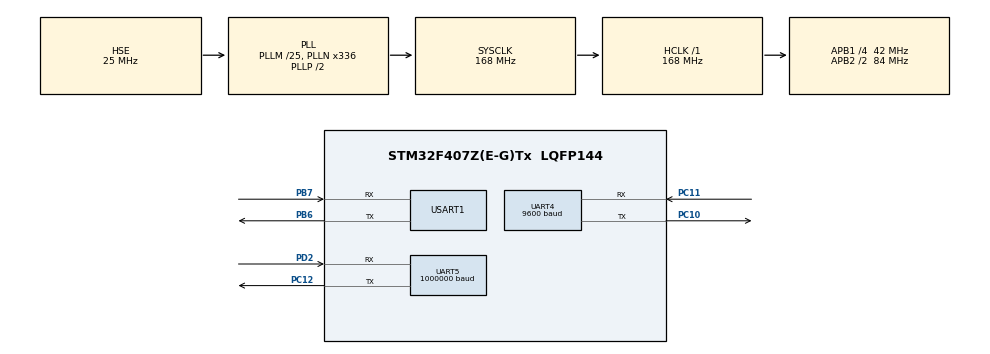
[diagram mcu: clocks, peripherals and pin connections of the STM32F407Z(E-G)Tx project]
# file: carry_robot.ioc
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FREERTOS.Tasks01=defaultTask,0,128,StartDefaultTask,Default,NULL,Dynamic,NULL,NULL
Mcu.Family=STM32F4
Mcu.Name=STM32F407Z(E-G)Tx
Mcu.Package=LQFP144
NVIC.PriorityGroup=NVIC_PRIORITYGROUP_4
NVIC.TIM1_UP_TIM10_IRQn=true\:0\:0\:false\:false\:true\:false\:false
NVIC.TimeBase=TIM1_UP_TIM10_IRQn
NVIC.TimeBaseIP=TIM1
NVIC.UART4_IRQn=true\:6\:0\:true\:false\:true\:true\:true
NVIC.UART5_IRQn=true\:6\:0\:true\:false\:true\:true\:true
NVIC.USART1_IRQn=true\:6\:0\:true\:false\:true\:true\:true
PB6.Mode=Asynchronous
PB6.Signal=USART1_TX
PB7.Mode=Asynchronous
PB7.Signal=USART1_RX
PC10.Mode=Asynchronous
PC10.Signal=UART4_TX
PC11.Mode=Asynchronous
PC11.Signal=UART4_RX
PC12.Mode=Asynchronous
PC12.Signal=UART5_TX
PD2.Mode=Asynchronous
PD2.Signal=UART5_RX
PH0-OSC_IN.Mode=HSE-External-Oscillator
PH0-OSC_IN.Signal=RCC_OSC_IN
PH1-OSC_OUT.Mode=HSE-External-Oscillator
PH1-OSC_OUT.Signal=RCC_OSC_OUT
ProjectManager.HeapSize=0x200
ProjectManager.StackSize=0x400
ProjectManager.TargetToolchain=MDK-ARM V5
RCC.48MHZClocksFreq_Value=84000000
RCC.AHBFreq_Value=168000000
RCC.APB1CLKDivider=RCC_HCLK_DIV4
RCC.APB1Freq_Value=42000000
RCC.APB1TimFreq_Value=84000000
RCC.APB2CLKDivider=RCC_HCLK_DIV2
RCC.APB2Freq_Value=84000000
RCC.APB2TimFreq_Value=168000000
RCC.CortexFreq_Value=168000000
RCC.HCLKFreq_Value=168000000
RCC.HSE_VALUE=25000000
RCC.HSI_VALUE=16000000
RCC.LSE_VALUE=32768
RCC.PLLM=25
RCC.PLLN=336
RCC.PLLSourceVirtual=RCC_PLLSOURCE_HSE
RCC.SYSCLKFreq_VALUE=168000000
RCC.SYSCLKSource=RCC_SYSCLKSOURCE_PLLCLK
RCC.VCOOutputFreq_Value=336000000
UART4.BaudRate=9600
UART4.VirtualMode=Asynchronous
UART5.BaudRate=1000000
UART5.VirtualMode=Asynchronous
USART1.VirtualMode=VM_ASYNC
VP_FREERTOS_VS_ENABLE.Mode=Enabled
VP_SYS_VS_tim1.Mode=TIM1
board=custom

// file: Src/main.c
/**
  ******************************************************************************
  * @file           : main.c
  * @brief          : Main program body
  ******************************************************************************
  * This notice applies to any and all portions of this file
  * that are not between comment pairs USER CODE BEGIN and
  * USER CODE END. Other portions of this file, whether
  * inserted by the user or by software development tools
  * are owned by their respective copyright owners.
  *
  * Copyright (c) 2018 STMicroelectronics International N.V.
  * All rights reserved.
  *
  * Redistribution and use in source and binary forms, with or without
  * modification, are permitted, provided that the following conditions are met:
  *
  * 1. Redistribution of source code must retain the above copyright notice,
  *    this list of conditions and the following disclaimer.
  * 2. Redistributions in binary form must reproduce the above copyright notice,
  *    this list of conditions and the following disclaimer in the documentation
  *    and/or other materials provided with the distribution.
  * 3. Neither the name of STMicroelectronics nor the names of other
  *    contributors to this software may be used to endorse or promote products
  *    derived from this software without specific written permission.
  * 4. This software, including modifications and/or derivative works of this
  *    software, must execute solely and exclusively on microcontroller or
  *    microprocessor devices manufactured by or for STMicroelectronics.
  * 5. Redistribution and use of this software other than as permitted under
  *    this license is void and will automatically terminate your rights under
  *    this license.
  *
  * THIS SOFTWARE IS PROVIDED BY STMICROELECTRONICS AND CONTRIBUTORS "AS IS"
  * AND ANY EXPRESS, IMPLIED OR STATUTORY WARRANTIES, INCLUDING, BUT NOT
  * LIMITED TO, THE IMPLIED WARRANTIES OF MERCHANTABILITY, FITNESS FOR A
  * PARTICULAR PURPOSE AND NON-INFRINGEMENT OF THIRD PARTY INTELLECTUAL PROPERTY
  * RIGHTS ARE DISCLAIMED TO THE FULLEST EXTENT PERMITTED BY LAW. IN NO EVENT
  * SHALL STMICROELECTRONICS OR CONTRIBUTORS BE LIABLE FOR ANY DIRECT, INDIRECT,
  * INCIDENTAL, SPECIAL, EXEMPLARY, OR CONSEQUENTIAL DAMAGES (INCLUDING, BUT NOT
  * LIMITED TO, PROCUREMENT OF SUBSTITUTE GOODS OR SERVICES; LOSS OF USE, DATA,
  * OR PROFITS; OR BUSINESS INTERRUPTION) HOWEVER CAUSED AND ON ANY THEORY OF
  * LIABILITY, WHETHER IN CONTRACT, STRICT LIABILITY, OR TORT (INCLUDING
  * NEGLIGENCE OR OTHERWISE) ARISING IN ANY WAY OUT OF THE USE OF THIS SOFTWARE,
  * EVEN IF ADVISED OF THE POSSIBILITY OF SUCH DAMAGE.
  *
  ******************************************************************************
  */
#include "main.h"
#include "stm32f4xx_hal.h"
#include "cmsis_os.h"
#include "usart.h"
#include "gpio.h"

/* USER CODE BEGIN Includes */
#include "bsp.h"
/* USER CODE END Includes */

/* USER CODE BEGIN PV */
/* Private variables ---------------------------------------------------------*/

/* USER CODE END PV */

void SystemClock_Config(void);
void MX_FREERTOS_Init(void);

/* USER CODE BEGIN PFP */
/* Private function prototypes -----------------------------------------------*/

/* USER CODE END PFP */

int main(void)
{

  /* MCU Configuration----------------------------------------------------------*/

  /* Reset of all peripherals, Initializes the Flash interface and the Systick. */
  HAL_Init();

  /* Configure the system clock */
  SystemClock_Config();

  /* USER CODE BEGIN SysInit */
	taskENTER_CRITICAL();  //�����ٽ��

  /* USER CODE END SysInit */

  /* Initialize all configured peripherals */
  MX_GPIO_Init();
  MX_USART1_UART_Init();
  MX_UART5_Init();
  MX_UART4_Init();
  /* USER CODE BEGIN 2 */
  BSP_Init();

  /* USER CODE END 2 */

  /* Call init function for freertos objects (in freertos.c) */
  MX_FREERTOS_Init();

  /* Start scheduler */
  osKernelStart();

  /* We should never get here as control is now taken by the scheduler */

  /* Infinite loop */
  while (1)
  {

  }

}

void SystemClock_Config(void)
{

  RCC_OscInitTypeDef RCC_OscInitStruct;
  RCC_ClkInitTypeDef RCC_ClkInitStruct;

    /**Configure the main internal regulator output voltage
    */
  __HAL_RCC_PWR_CLK_ENABLE();

  __HAL_PWR_VOLTAGESCALING_CONFIG(PWR_REGULATOR_VOLTAGE_SCALE1);

    /**Initializes the CPU, AHB and APB busses clocks
    */
  RCC_OscInitStruct.OscillatorType = RCC_OSCILLATORTYPE_HSE;
  RCC_OscInitStruct.HSEState = RCC_HSE_ON;
  RCC_OscInitStruct.PLL.PLLState = RCC_PLL_ON;
  RCC_OscInitStruct.PLL.PLLSource = RCC_PLLSOURCE_HSE;
  RCC_OscInitStruct.PLL.PLLM = 25;
  RCC_OscInitStruct.PLL.PLLN = 336;
  RCC_OscInitStruct.PLL.PLLP = RCC_PLLP_DIV2;
  RCC_OscInitStruct.PLL.PLLQ = 4;
  if (HAL_RCC_OscConfig(&RCC_OscInitStruct) != HAL_OK)
  {
    _Error_Handler(__FILE__, __LINE__);
  }

    /**Initializes the CPU, AHB and APB busses clocks
    */
  RCC_ClkInitStruct.ClockType = RCC_CLOCKTYPE_HCLK|RCC_CLOCKTYPE_SYSCLK
                              |RCC_CLOCKTYPE_PCLK1|RCC_CLOCKTYPE_PCLK2;
  RCC_ClkInitStruct.SYSCLKSource = RCC_SYSCLKSOURCE_PLLCLK;
  RCC_ClkInitStruct.AHBCLKDivider = RCC_SYSCLK_DIV1;
  RCC_ClkInitStruct.APB1CLKDivider = RCC_HCLK_DIV4;
  RCC_ClkInitStruct.APB2CLKDivider = RCC_HCLK_DIV2;

  if (HAL_RCC_ClockConfig(&RCC_ClkInitStruct, FLASH_LATENCY_5) != HAL_OK)
  {
    _Error_Handler(__FILE__, __LINE__);
  }

    /**Configure the Systick interrupt time
    */
  HAL_SYSTICK_Config(HAL_RCC_GetHCLKFreq()/1000);

    /**Configure the Systick
    */
  HAL_SYSTICK_CLKSourceConfig(SYSTICK_CLKSOURCE_HCLK);

  /* SysTick_IRQn interrupt configuration */
  HAL_NVIC_SetPriority(SysTick_IRQn, 15, 0);
}

void HAL_TIM_PeriodElapsedCallback(TIM_HandleTypeDef *htim)
{
  if (htim->Instance == TIM1) {
    HAL_IncTick();
  }
}

void _Error_Handler(char *file, int line)
{
  while(1)
  {
  }
}

/************************ (C) COPYRIGHT STMicroelectronics *****END OF FILE****/

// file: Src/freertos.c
/**
  ******************************************************************************
  * File Name          : freertos.c
  * Description        : Code for freertos applications
  ******************************************************************************
  * This notice applies to any and all portions of this file
  * that are not between comment pairs USER CODE BEGIN and
  * USER CODE END. Other portions of this file, whether
  * inserted by the user or by software development tools
  * are owned by their respective copyright owners.
  *
  * Copyright (c) 2018 STMicroelectronics International N.V.
  * All rights reserved.
  *
  * Redistribution and use in source and binary forms, with or without
  * modification, are permitted, provided that the following conditions are met:
  *
  * 1. Redistribution of source code must retain the above copyright notice,
  *    this list of conditions and the following disclaimer.
  * 2. Redistributions in binary form must reproduce the above copyright notice,
  *    this list of conditions and the following disclaimer in the documentation
  *    and/or other materials provided with the distribution.
  * 3. Neither the name of STMicroelectronics nor the names of other
  *    contributors to this software may be used to endorse or promote products
  *    derived from this software without specific written permission.
  * 4. This software, including modifications and/or derivative works of this
  *    software, must execute solely and exclusively on microcontroller or
  *    microprocessor devices manufactured by or for STMicroelectronics.
  * 5. Redistribution and use of this software other than as permitted under
  *    this license is void and will automatically terminate your rights under
  *    this license.
  *
  * THIS SOFTWARE IS PROVIDED BY STMICROELECTRONICS AND CONTRIBUTORS "AS IS"
  * AND ANY EXPRESS, IMPLIED OR STATUTORY WARRANTIES, INCLUDING, BUT NOT
  * LIMITED TO, THE IMPLIED WARRANTIES OF MERCHANTABILITY, FITNESS FOR A
  * PARTICULAR PURPOSE AND NON-INFRINGEMENT OF THIRD PARTY INTELLECTUAL PROPERTY
  * RIGHTS ARE DISCLAIMED TO THE FULLEST EXTENT PERMITTED BY LAW. IN NO EVENT
  * SHALL STMICROELECTRONICS OR CONTRIBUTORS BE LIABLE FOR ANY DIRECT, INDIRECT,
  * INCIDENTAL, SPECIAL, EXEMPLARY, OR CONSEQUENTIAL DAMAGES (INCLUDING, BUT NOT
  * LIMITED TO, PROCUREMENT OF SUBSTITUTE GOODS OR SERVICES; LOSS OF USE, DATA,
  * OR PROFITS; OR BUSINESS INTERRUPTION) HOWEVER CAUSED AND ON ANY THEORY OF
  * LIABILITY, WHETHER IN CONTRACT, STRICT LIABILITY, OR TORT (INCLUDING
  * NEGLIGENCE OR OTHERWISE) ARISING IN ANY WAY OUT OF THE USE OF THIS SOFTWARE,
  * EVEN IF ADVISED OF THE POSSIBILITY OF SUCH DAMAGE.
  *
  ******************************************************************************
  */

#include "FreeRTOS.h"
#include "task.h"
#include "cmsis_os.h"

osThreadId defaultTaskHandle;

/* USER CODE BEGIN Variables */
osThreadId correct_taskHandle;
osThreadId decision_taskHandle;
osThreadId location_taskHandle;
osThreadId test_taskHandle;
osThreadId display_taskHandle;
/* USER CODE END Variables */

void StartDefaultTask(void const * argument);

void MX_FREERTOS_Init(void); /* (MISRA C 2004 rule 8.1) */

/* USER CODE BEGIN FunctionPrototypes */
extern void Correct_Task(void const * argument);
extern void Decision_Task(void const * argument);
extern void Location_Task(void const * argument);
extern void Test_Task(void const * argument);
extern void Display_Task(void const * argument);
/* USER CODE END FunctionPrototypes */

/* Hook prototypes */

/* Init FreeRTOS */

void MX_FREERTOS_Init(void) {

  /* Create the thread(s) */
  /* definition and creation of defaultTask */
  osThreadDef(defaultTask, StartDefaultTask, osPriorityNormal, 0, 128);
  defaultTaskHandle = osThreadCreate(osThread(defaultTask), NULL);

  /* USER CODE BEGIN RTOS_THREADS */
  osThreadDef(correct_task, Correct_Task, osPriorityHigh, 0, 128);
  correct_taskHandle = osThreadCreate(osThread(correct_task), NULL);

  osThreadDef(decision_task, Decision_Task, osPriorityHigh, 0, 128);
  decision_taskHandle = osThreadCreate(osThread(decision_task), NULL);

  osThreadDef(location_task, Location_Task, osPriorityHigh, 0, 128);
  location_taskHandle = osThreadCreate(osThread(location_task), NULL);

  osThreadDef(test_task, Test_Task, osPriorityHigh, 0, 128);
  test_taskHandle = osThreadCreate(osThread(test_task), NULL);

  osThreadDef(display_task, Display_Task, osPriorityHigh, 0, 512);
  display_taskHandle = osThreadCreate(osThread(display_task), NULL);
  /* add threads, ... */
  /* USER CODE END RTOS_THREADS */

}

/* StartDefaultTask function */
void StartDefaultTask(void const * argument)
{

  /* USER CODE BEGIN StartDefaultTask */
  /* Infinite loop */
  for(;;)
  {

//		printf("\n\n");
//		printf("a629          169       13222222247    028         b561   132222222257     8225b            0229\n");
//		printf("a63347        169     a66a       025b  028         b561   1347      8247   82669           a6669\n");
//		printf("a697528       169    a65b              028         b561   1347       829   820020         139069\n");
//		printf("a69  829      169   b56a               028         b561   1347       020   820 96a       7447a69\n");
//		printf("a69   1331    169   1347               028         b561   1347     1320    820 b561     b531 a69\n");
//		printf("a69     928   169   1347               028         b561   1322662238b      820  7447    96a  a69\n");
//		printf("a69      825b 169   b56a               028         b561   1347   825       820   135b  828   a69\n");
//		printf("a69       7461139    a647         71   a25         1347   1347    1331     820    a69 a60    a69\n");
//		printf("a69         92369     166a       929    025b      a661    1347     b528    820     82435b    a69\n");
//		printf("a69          a629       1322222229b      b922222223a      1347       025   820      0247     a69\n");
//		printf("\n\n");

    osDelay(1);
  }
  /* USER CODE END StartDefaultTask */
}

/************************ (C) COPYRIGHT STMicroelectronics *****END OF FILE****/
